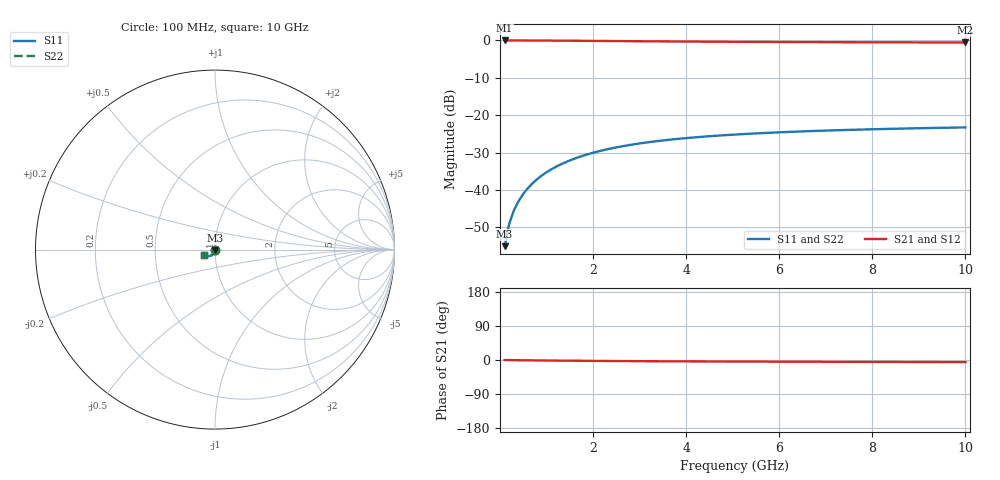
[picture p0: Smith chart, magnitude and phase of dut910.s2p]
! Touchstone file exported from HFSS 2024.1.0
!  File:  C:/UserFiles/LocalFiles/RDL_TSV_Batchsim/temp_TSV1_910_1779945061.aedt
!  Generated:  01:17:01 PM May 28, 2026
!  Design:  TSV1
!  Project:  temp_TSV1_910_1779945061
!  Setup:  Setup1
!  Solution:  Sweep
! Variables:
!  dtsv = 12.87um
!  hbump = 3um
!  htsv = 85.38um
!  lrdl = 252.1521522um
!  p = 40
!  p1 = 41.52um
!  t = 500um
!  trdl = 3um
!  wrdl = 24.89489489um
# GHz S MA R 50.000000
! Terminal data exported
! Port[1] = TSV22_T1
! Port[2] = TSV22_T2
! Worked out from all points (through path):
!   100 points, 100 MHz to 10 GHz, reference 50 ohm
!   highest |S21| = 0.00 dB at 100 MHz (marker M1); lowest = -0.5 dB at 10 GHz (marker M2)
!   lowest |S11| = -55.1 dB at 100 MHz (marker M3), VSWR 1.00, Z = 50 - j0.177 ohm
!   |S11| at or under -10 dB: start of sweep to end of sweep
!   |S22| runs from -55.1 to -23.3 dB; largest |S21 - S12| = 4.1e-15
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0.1  0.001767 -88.3  0.9999 -0.1  0.9999 -0.1  0.001767 -88.3
! Gamma 0 0 0 0
! Port Impedance 50 0 50 0
0.2  0.003548 -91.1  0.9997 -0.3  0.9997 -0.3  0.003548 -91.1
0.3  0.005323 -93.1  0.9995 -0.4  0.9995 -0.4  0.005323 -93.1
0.4  0.007085 -94.9  0.9992 -0.6  0.9992 -0.6  0.007085 -94.9
0.5  0.008831 -96.5  0.9988 -0.7  0.9988 -0.7  0.008831 -96.5
0.6  0.01056 -98.0  0.9983 -0.8  0.9983 -0.8  0.01056 -98.0
0.7  0.01226 -99.5  0.9977 -1.0  0.9977 -1.0  0.01226 -99.5
0.8  0.01394 -101.0  0.9971 -1.1  0.9971 -1.1  0.01394 -101.0
0.9  0.01559 -102.4  0.9964 -1.2  0.9964 -1.2  0.01559 -102.4
1.1  0.0188 -105.2  0.9948 -1.5  0.9948 -1.5  0.0188 -105.2
1.4  0.02335 -109.1  0.9921 -1.8  0.9921 -1.8  0.02335 -109.1
1.6  0.02619 -111.6  0.9901 -2.0  0.9901 -2.0  0.02619 -111.6
1.8  0.02888 -113.9  0.9881 -2.2  0.9881 -2.2  0.02888 -113.9
2.1  0.03262 -117.2  0.985 -2.5  0.985 -2.5  0.03262 -117.2
2.5  0.03707 -121.3  0.9809 -2.8  0.9809 -2.8  0.03707 -121.3
2.9  0.04096 -124.9  0.9768 -3.0  0.9768 -3.0  0.04096 -124.9
3.4  0.04515 -128.8  0.9721 -3.3  0.9721 -3.3  0.04515 -128.8
4.2  0.05057 -134.1  0.9654 -3.7  0.9654 -3.7  0.05057 -134.1
5.1  0.05528 -138.8  0.959 -4.1  0.959 -4.1  0.05528 -138.8
6.7  0.06131 -145.1  0.9503 -4.6  0.9503 -4.6  0.06131 -145.1
8.4  0.06567 -150.0  0.9438 -5.1  0.9438 -5.1  0.06567 -150.0
10  0.06861 -153.4  0.9394 -5.6  0.9394 -5.6  0.06861 -153.4
